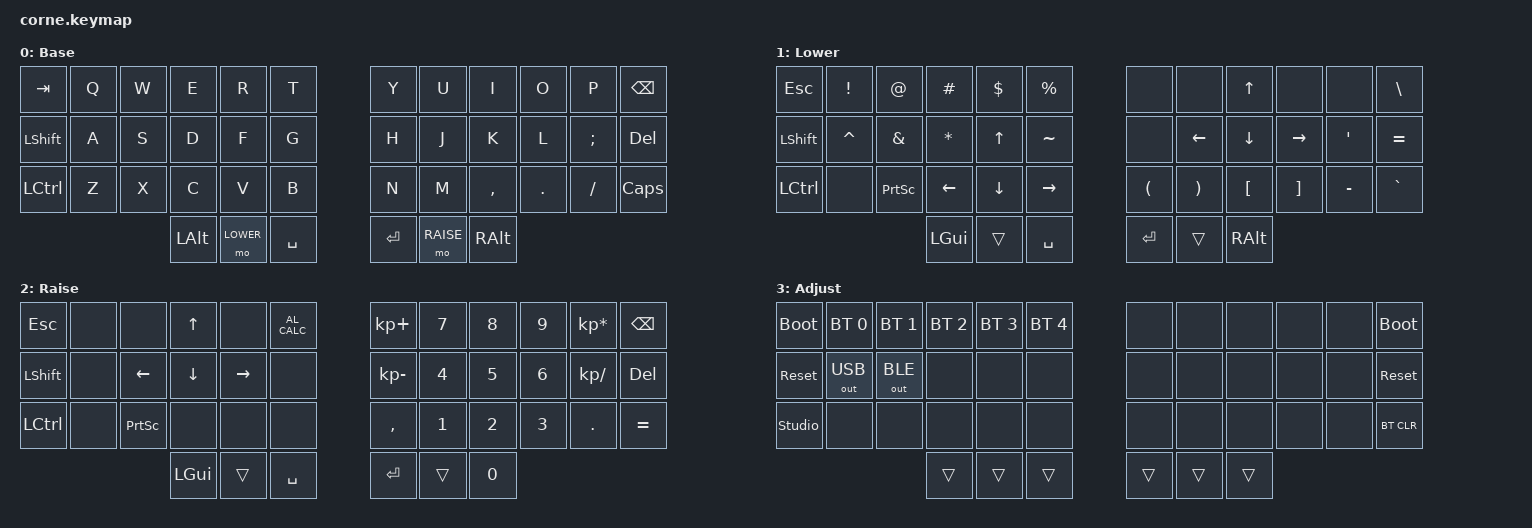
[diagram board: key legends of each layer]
#include <behaviors.dtsi>
#include <dt-bindings/zmk/bt.h>
#include <dt-bindings/zmk/keys.h>
#include <dt-bindings/zmk/outputs.h>

// Migrado desde la config de VIA. Layout del SO: Estados Unidos - Internacional.

#define BASE   0
#define LOWER  1
#define RAISE  2
#define ADJUST 3

/ {
    keymap {
        compatible = "zmk,keymap";

        // 0: Base.
        base_layer {
            display-name = "Base";
            bindings = <
&kp TAB    &kp Q  &kp W  &kp E  &kp R  &kp T        &kp Y  &kp U  &kp I      &kp O    &kp P      &kp BSPC
&kp LSHFT  &kp A  &kp S  &kp D  &kp F  &kp G        &kp H  &kp J  &kp K      &kp L    &kp SEMI   &kp DEL
&kp LCTRL  &kp Z  &kp X  &kp C  &kp V  &kp B        &kp N  &kp M  &kp COMMA  &kp DOT  &kp FSLH   &kp CAPS
                 &kp LALT  &mo LOWER  &kp SPACE     &kp RET  &mo RAISE  &kp RALT
            >;
        };

        // 1: Lower. Simbolos y flechas.
        lower_layer {
            display-name = "Lower";
            bindings = <
&kp ESC    &kp EXCL   &kp AT     &kp HASH   &kp DLLR   &kp PRCNT        &none     &none     &kp UP     &none     &none    &kp BSLH
&kp LSHFT  &kp CARET  &kp AMPS   &kp STAR   &kp UP     &kp TILDE        &none     &kp LEFT  &kp DOWN   &kp RIGHT &kp SQT  &kp EQUAL
&kp LCTRL  &none      &kp PSCRN  &kp LEFT   &kp DOWN   &kp RIGHT        &kp LPAR  &kp RPAR  &kp LBKT   &kp RBKT  &kp MINUS &kp GRAVE
                           &kp LGUI  &trans  &kp SPACE                  &kp RET  &trans  &kp RALT
            >;
        };

        // 2: Raise. Numpad y navegacion.
        raise_layer {
            display-name = "Raise";
            bindings = <
&kp ESC    &none  &none     &kp UP     &none      &kp C_AL_CALC     &kp KP_PLUS   &kp N7  &kp N8  &kp N9  &kp KP_MULTIPLY  &kp BSPC
&kp LSHFT  &none  &kp LEFT  &kp DOWN   &kp RIGHT  &none             &kp KP_MINUS  &kp N4  &kp N5  &kp N6  &kp KP_DIVIDE    &kp DEL
&kp LCTRL  &none  &kp PSCRN &none      &none      &none             &kp COMMA     &kp N1  &kp N2  &kp N3  &kp DOT          &kp EQUAL
                           &kp LGUI  &trans  &kp SPACE              &kp RET  &trans  &kp N0
            >;
        };

        // 3: Adjust (Lower + Raise). Bluetooth y sistema.
        // Bootloader/reset solo afectan a la mitad donde se presionan, por eso estan en ambas.
        // BT_CLR queda en la otra mano, lejos de los perfiles.
        adjust_layer {
            display-name = "Adjust";
            bindings = <
&bootloader      &bt BT_SEL 0   &bt BT_SEL 1   &bt BT_SEL 2  &bt BT_SEL 3  &bt BT_SEL 4        &none  &none  &none  &none  &none  &bootloader
&sys_reset       &out OUT_USB   &out OUT_BLE   &none         &none         &none               &none  &none  &none  &none  &none  &sys_reset
&studio_unlock   &none          &none          &none         &none         &none               &none  &none  &none  &none  &none  &bt BT_CLR
                                  &trans  &trans  &trans                                       &trans  &trans  &trans
            >;
        };
    };

    conditional_layers {
        compatible = "zmk,conditional-layers";

        adjust_layer {
            if-layers = <LOWER RAISE>;
            then-layer = <ADJUST>;
        };
    };
};
